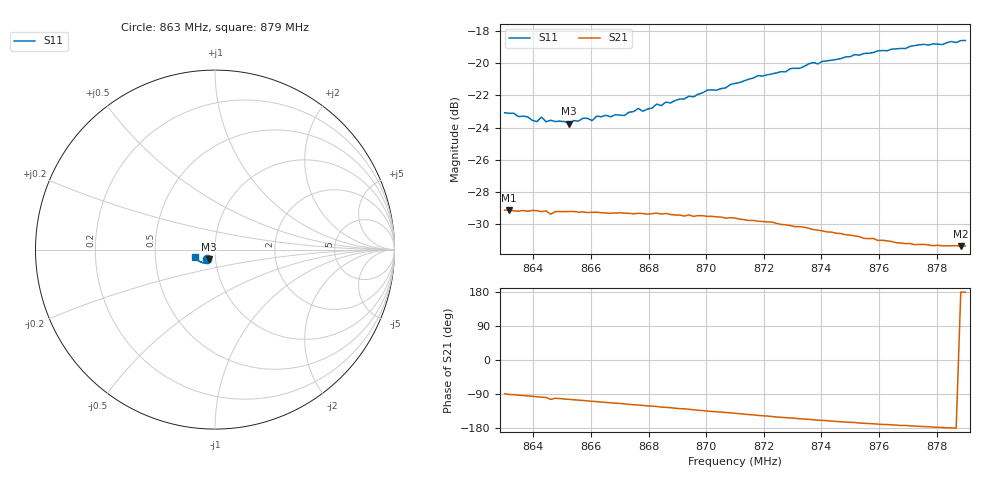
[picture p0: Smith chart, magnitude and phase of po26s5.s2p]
# HZ S RI R 50
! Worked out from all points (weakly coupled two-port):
!   101 points, 863 MHz to 879 MHz, reference 50 ohm
!   highest |S21| = -29.12 dB at 863.16 MHz (marker M1); lowest = -31.4 dB at 878.84 MHz (marker M2)
!   lowest |S11| = -23.8 dB at 865.24 MHz (marker M3), VSWR 1.14, Z = 46.3 - j5.04 ohm
!   |S11| at or under -10 dB: start of sweep to end of sweep
!   S12 and S22 are empty: the file has one direction only
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8.63e8  -0.0449 -0.0538  0.00056 -0.035  0 0  0 0
8.6316e8  -0.0451 -0.0533  -0.000694 -0.035  0 0  0 0
8.6412e8  -0.0389 -0.053  -0.00426 -0.0346  0 0  0 0
8.6428e8  -0.0402 -0.0548  -0.00483 -0.0343  0 0  0 0
8.6444e8  -0.0393 -0.0527  -0.00533 -0.0344  0 0  0 0
8.646e8  -0.0391 -0.0537  -0.00819 -0.033  0 0  0 0
8.6524e8  -0.0357 -0.0542  -0.00834 -0.0336  0 0  0 0
8.6572e8  -0.0355 -0.0573  -0.00999 -0.033  0 0  0 0
8.6604e8  -0.035 -0.0563  -0.0112 -0.0326  0 0  0 0
8.662e8  -0.0371 -0.0575  -0.0117 -0.0324  0 0  0 0
8.6716e8  -0.0346 -0.0594  -0.0149 -0.0308  0 0  0 0
8.6764e8  -0.0366 -0.0623  -0.0165 -0.03  0 0  0 0
8.678e8  -0.0358 -0.0612  -0.017 -0.0296  0 0  0 0
8.6828e8  -0.0364 -0.0651  -0.0185 -0.0288  0 0  0 0
8.6844e8  -0.0365 -0.0641  -0.0192 -0.0281  0 0  0 0
8.686e8  -0.0365 -0.0662  -0.0195 -0.028  0 0  0 0
8.6956e8  -0.0407 -0.0672  -0.0221 -0.0252  0 0  0 0
8.71e8  -0.0465 -0.0728  -0.0255 -0.021  0 0  0 0
8.7372e8  -0.0677 -0.074  -0.0282 -0.0115  0 0  0 0
8.7644e8  -0.0906 -0.063  -0.0276 -0.00428  0 0  0 0
8.7884e8  -0.1093 -0.0425  -0.0271 0.000368  0 0  0 0
8.79e8  -0.1104 -0.04  -0.0271 0.000525  0 0  0 0
